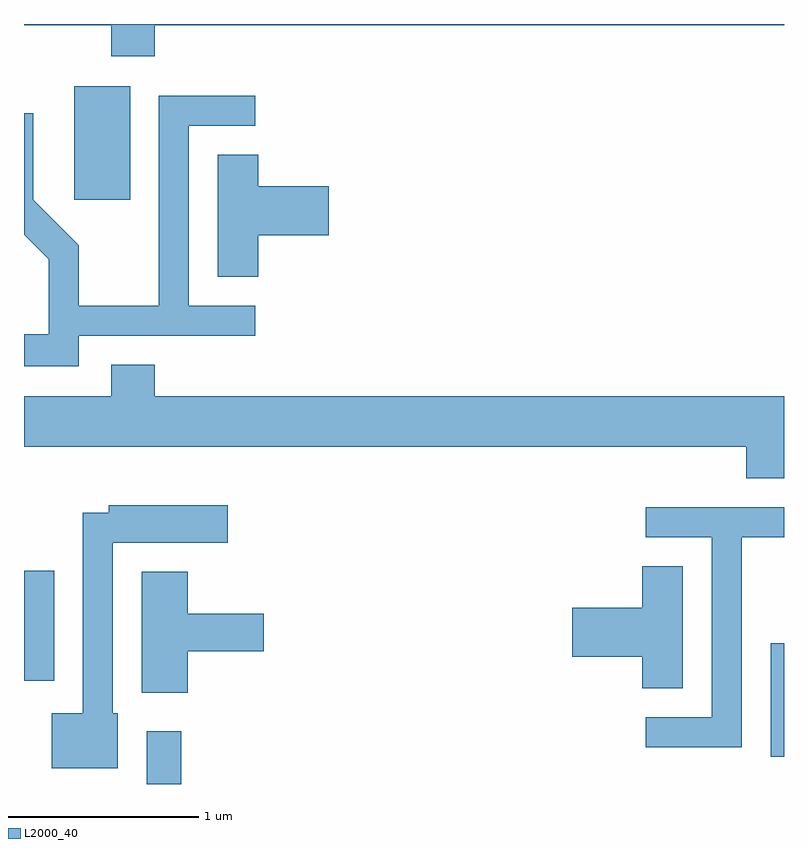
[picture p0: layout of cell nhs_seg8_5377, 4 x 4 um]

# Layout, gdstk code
import gdstk
lib = gdstk.Library(unit=1e-6, precision=1e-09)
def R(c, l, rs):  # rectangles x0, y0, x1, y1
    for r in rs: c.add(gdstk.rectangle(r[:2], r[2:], *l))
def P(c, l, *ps):  # polygons
    for p in ps: c.add(gdstk.Polygon(p, *l))
L2000_40 = (2000, 40)

nhs_seg8_5377 = lib.new_cell('nhs_seg8_5377')
R(nhs_seg8_5377, L2000_40, [(346.256,1912.342,346.439,1912.619), (349.541,1912.486,349.611,1913.084), (345.611,1912.886,345.769,1913.464), (345.876,1915.416,346.169,1916.014)])
P(nhs_seg8_5377, L2000_40, [(346.299,1916.336),(349.611,1916.336),(349.611,1916.342),(345.611,1916.342),(345.611,1916.336),(346.071,1916.336),(346.071,1916.171),(346.299,1916.171)],
  [(345.899,1914.701),(346.828,1914.701),(346.828,1914.859),(346.479,1914.859),(346.479,1915.806),(346.828,1915.806),(346.828,1915.964),(346.321,1915.964),(346.321,1914.859),(345.899,1914.859),(345.899,1915.177),(345.659,1915.417),(345.659,1915.873),(345.611,1915.873),(345.611,1915.234),(345.741,1915.104),(345.741,1914.709),(345.611,1914.709),(345.611,1914.541),(345.899,1914.541)],
  [(346.844,1915.231),(347.214,1915.231),(347.214,1915.489),(346.844,1915.489),(346.844,1915.654),(346.631,1915.654),(346.631,1915.011),(346.844,1915.011)],
  [(346.299,1914.549),(346.071,1914.549),(346.071,1914.384),(345.611,1914.384),(345.611,1914.116),(349.411,1914.116),(349.411,1913.951),(349.611,1913.951),(349.611,1914.384),(346.299,1914.384)],
  [(346.104,1912.714),(346.079,1912.714),(346.079,1913.611),(346.684,1913.611),(346.684,1913.809),(346.056,1913.809),(346.056,1913.769),(345.921,1913.769),(345.921,1912.714),(345.756,1912.714),(345.756,1912.426),(346.104,1912.426)],
  [(349.389,1913.641),(349.611,1913.641),(349.611,1913.799),(348.883,1913.799),(348.883,1913.641),(349.231,1913.641),(349.231,1912.694),(348.883,1912.694),(348.883,1912.536),(349.389,1912.536)],
  [(349.079,1913.489),(348.866,1913.489),(348.866,1913.269),(348.496,1913.269),(348.496,1913.011),(348.866,1913.011),(348.866,1912.846),(349.079,1912.846)],
  [(346.474,1913.041),(346.874,1913.041),(346.874,1913.239),(346.474,1913.239),(346.474,1913.459),(346.231,1913.459),(346.231,1912.821),(346.474,1912.821)])

lib.write_gds('nhs_seg8_5377.gds')
